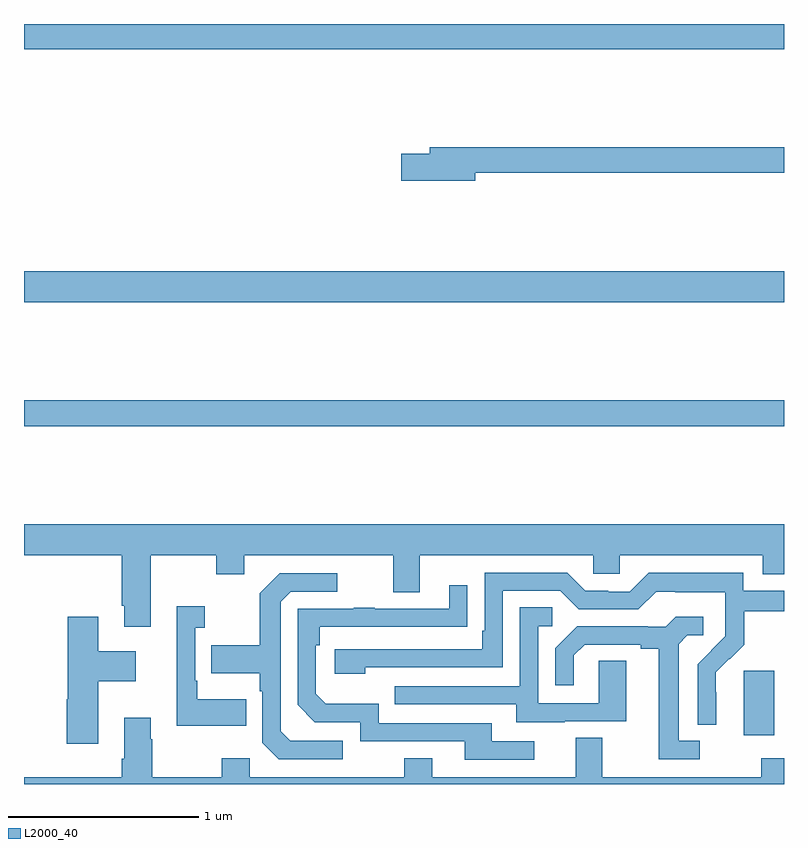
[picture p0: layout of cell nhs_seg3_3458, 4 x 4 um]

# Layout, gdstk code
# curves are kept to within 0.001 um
import gdstk
lib = gdstk.Library(unit=1e-6, precision=1e-09)
def R(c, l, rs):  # rectangles x0, y0, x1, y1
    for r in rs: c.add(gdstk.rectangle(r[:2], r[2:], *l))
def P(c, l, *ps):  # polygons
    for p in ps: c.add(gdstk.Polygon(p, *l))
L2000_40 = (2000, 40)

nhs_seg3_3458 = lib.new_cell('nhs_seg3_3458')
R(nhs_seg3_3458, L2000_40, [(294.788,678.657,294.949,678.997), (291,680.284,295,680.42), (291,680.936,295,681.1), (291,682.268,295,682.4)])
P(nhs_seg3_3458, L2000_40, [(293.374,681.616),(295,681.616),(295,681.752),(293.135,681.752),(293.135,681.716),(292.986,681.716),(292.986,681.574),(293.374,681.574)],
  [(291.667,679.604),(292.012,679.604),(292.012,679.505),(292.159,679.505),(292.159,679.604),(292.943,679.604),(292.943,679.41),(293.083,679.41),(293.083,679.604),(293.997,679.604),(293.997,679.506),(294.135,679.506),(294.135,679.604),(294.887,679.604),(294.887,679.505),(295,679.505),(295,679.768),(291,679.768),(291,679.604),(291.515,679.604),(291.515,679.339),(291.527,679.339),(291.527,679.227),(291.667,679.227)],
  [(294.643,678.884),(294.641,678.884),(294.641,678.989),(294.711,679.059),(294.714,679.056),(294.791,679.133),(294.791,679.308),(295,679.308),(295,679.416),(294.786,679.416),(294.786,679.513),(294.289,679.513),(294.189,679.413),(294.074,679.413),(294.074,679.416),(293.955,679.416),(293.859,679.512),(293.424,679.512),(293.424,679.207),(293.411,679.207),(293.411,679.11),(292.635,679.11),(292.635,678.98),(292.796,678.98),(292.796,679.014),(293.52,679.014),(293.52,679.416),(293.823,679.416),(293.919,679.32),(294.234,679.32),(294.327,679.413),(294.427,679.413),(294.427,679.409),(294.69,679.409),(294.69,679.275),(294.692,679.275),(294.692,679.178),(294.546,679.03),(294.546,678.712),(294.643,678.712)],
  [(292.678,678.627),(292.401,678.627),(292.35,678.678),(292.35,679.359),(292.404,679.413),(292.648,679.413),(292.648,679.509),(292.347,679.509),(292.242,679.403),(292.242,679.131),(291.985,679.131),(291.985,678.983),(292.242,678.983),(292.242,678.887),(292.254,678.887),(292.254,678.618),(292.341,678.531),(292.678,678.531)],
  [(293.686,678.624),(293.461,678.624),(293.461,678.72),(292.866,678.72),(292.866,678.823),(292.589,678.823),(292.536,678.876),(292.536,679.13),(292.556,679.13),(292.556,679.227),(293.333,679.228),(293.333,679.447),(293.237,679.447),(293.237,679.323),(292.847,679.323),(292.847,679.328),(292.735,679.328),(292.735,679.323),(292.44,679.323),(292.44,678.816),(292.53,678.726),(292.77,678.726),(292.77,678.624),(293.321,678.624),(293.321,678.528),(293.686,678.528)],
  [(292.169,678.847),(291.913,678.847),(291.913,678.943),(291.9,678.943),(291.9,679.223),(291.952,679.223),(291.952,679.336),(291.803,679.336),(291.803,678.707),(292.169,678.707)],
  [(293.845,678.729),(294.169,678.729),(294.169,679.049),(294.024,679.049),(294.024,678.825),(293.706,678.825),(293.706,679.23),(293.779,679.23),(293.779,679.331),(293.61,679.331),(293.61,678.915),(292.951,678.915),(292.951,678.819),(293.591,678.819),(293.591,678.725),(293.845,678.725)],
  [(291.391,678.941),(291.589,678.941),(291.589,679.099),(291.391,679.099),(291.391,679.279),(291.229,679.279),(291.229,678.845),(291.224,678.845),(291.224,678.612),(291.391,678.612)],
  [(294.556,678.627),(294.445,678.627),(294.445,679.135),(294.492,679.182),(294.574,679.182),(294.574,679.279),(294.43,679.279),(294.378,679.227),(294.284,679.227),(294.284,679.23),(293.912,679.23),(293.796,679.114),(293.796,678.921),(293.893,678.921),(293.893,679.077),(293.95,679.134),(294.245,679.134),(294.245,679.112),(294.341,679.112),(294.341,678.531),(294.556,678.531)],
  [(295,678.535),(294.88,678.535),(294.88,678.436),(294.043,678.436),(294.043,678.644),(293.903,678.644),(293.903,678.436),(293.149,678.436),(293.149,678.535),(293.002,678.535),(293.002,678.436),(292.188,678.436),(292.188,678.535),(292.042,678.535),(292.042,678.436),(291.675,678.436),(291.675,678.635),(291.667,678.635),(291.667,678.748),(291.527,678.748),(291.527,678.532),(291.515,678.532),(291.515,678.436),(291,678.436),(291,678.4),(295,678.4)])

lib.write_gds('nhs_seg3_3458.gds')
